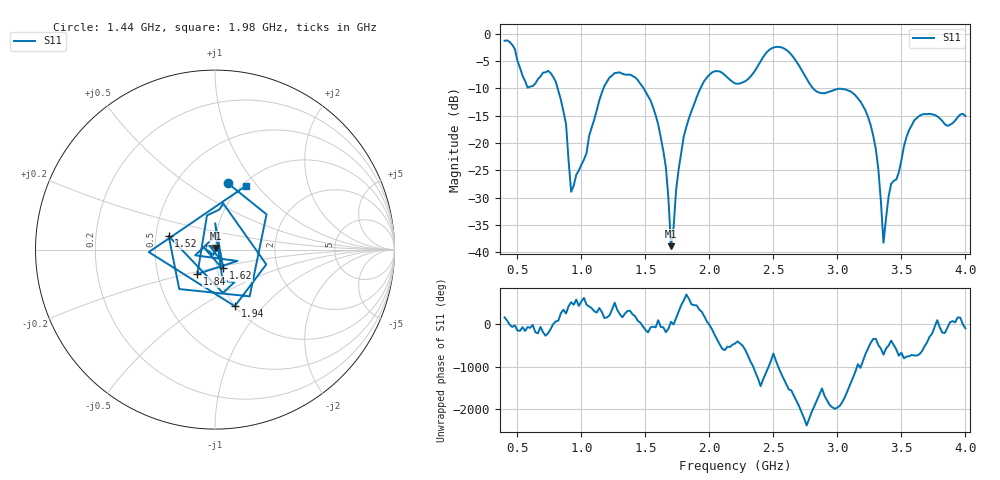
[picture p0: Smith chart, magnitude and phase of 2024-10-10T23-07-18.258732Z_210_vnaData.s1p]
! Created with skrf (http://scikit-rf.org).
# Hz S RI R 50.0
!freq ReS11 ImS11
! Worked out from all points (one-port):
!   181 points, 400 MHz to 4 GHz, reference 50 ohm
!   lowest |S11| = -38.9 dB at 1.7 GHz (marker M1), VSWR 1.02, Z = 50.7 + j0.908 ohm
!   |S11| at or under -10 dB: 814.1 MHz to 1.173 GHz (358.7 MHz wide, 36.1 % of centre); 1.486 GHz to 1.931 GHz (444.9 MHz wide, 26 % of centre); 2.81 GHz to end of sweep
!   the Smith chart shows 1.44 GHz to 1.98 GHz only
!   S11 on the Smith chart (normalised r, x): 1.44 GHz: 0.86, +0.74; 1.52 GHz: 0.58, +0.10; 1.62 GHz: 1.07, -0.22; 1.84 GHz: 0.79, -0.22; 1.94 GHz: 1.00, -0.71; 1.98 GHz: 1.04, +0.88
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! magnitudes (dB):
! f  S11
! 400 MHz  -1.3
! 580 MHz  -9.9
! 760 MHz  -7.2
! 860 MHz  -14.3
! 880 MHz  -16.6
! 920 MHz  -28.9
! 1.18 GHz  -9.6
! 1.3 GHz  -7.1
! 1.44 GHz  -8.5
! 1.52 GHz  -11.4
! 1.62 GHz  -19.0
! 1.66 GHz  -24.4
! 1.7 GHz  -38.9
! 1.76 GHz  -24.8
! 1.84 GHz  -15.5
! 1.94 GHz  -9.5
! 1.98 GHz  -8.1
! 2.2 GHz  -9.1
! 2.5 GHz  -2.6
! 2.66 GHz  -4.5
! 2.84 GHz  -10.6
! 3.1 GHz  -10.6
! 3.28 GHz  -18.7
! 3.32 GHz  -24.8
! 3.36 GHz  -38.3
! 3.42 GHz  -27.5
! 3.56 GHz  -17.7
! 4 GHz  -15.1
